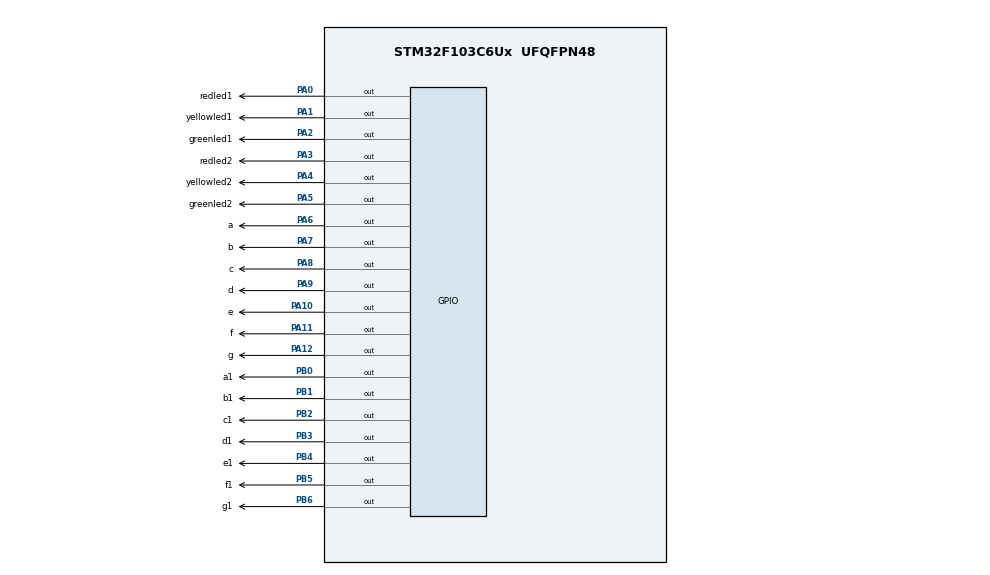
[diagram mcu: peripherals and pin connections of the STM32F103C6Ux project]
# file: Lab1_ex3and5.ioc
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Mcu.Family=STM32F1
Mcu.Name=STM32F103C6Ux
Mcu.Package=UFQFPN48
NVIC.PriorityGroup=NVIC_PRIORITYGROUP_4
PA0-WKUP.GPIO_Label=redled1
PA0-WKUP.Signal=GPIO_Output
PA1.GPIO_Label=yellowled1
PA1.Signal=GPIO_Output
PA10.GPIO_Label=e
PA10.Signal=GPIO_Output
PA11.GPIO_Label=f
PA11.Signal=GPIO_Output
PA12.GPIO_Label=g
PA12.Signal=GPIO_Output
PA2.GPIO_Label=greenled1
PA2.Signal=GPIO_Output
PA3.GPIO_Label=redled2
PA3.Signal=GPIO_Output
PA4.GPIO_Label=yellowled2
PA4.Signal=GPIO_Output
PA5.GPIO_Label=greenled2
PA5.Signal=GPIO_Output
PA6.GPIO_Label=a
PA6.Signal=GPIO_Output
PA7.GPIO_Label=b
PA7.Signal=GPIO_Output
PA8.GPIO_Label=c
PA8.Signal=GPIO_Output
PA9.GPIO_Label=d
PA9.Signal=GPIO_Output
PB0.GPIO_Label=a1
PB0.Signal=GPIO_Output
PB1.GPIO_Label=b1
PB1.Signal=GPIO_Output
PB2.GPIO_Label=c1
PB2.Signal=GPIO_Output
PB3.GPIO_Label=d1
PB3.Signal=GPIO_Output
PB4.GPIO_Label=e1
PB4.Signal=GPIO_Output
PB5.GPIO_Label=f1
PB5.Signal=GPIO_Output
PB6.GPIO_Label=g1
PB6.Signal=GPIO_Output
ProjectManager.HeapSize=0x200
ProjectManager.StackSize=0x400
ProjectManager.TargetToolchain=STM32CubeIDE
RCC.APB1Freq_Value=8000000
RCC.APB2Freq_Value=8000000
VP_SYS_VS_ND.Mode=No_Debug
board=custom

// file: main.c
/* USER CODE BEGIN Header */
/**
  ******************************************************************************
  * @file           : main.c
  * @brief          : Main program body
  ******************************************************************************
  * @attention
  *
  * <h2><center>&copy; Copyright (c) 2025 STMicroelectronics.
  * All rights reserved.</center></h2>
  *
  * This software component is licensed by ST under BSD 3-Clause license,
  * the "License"; You may not use this file except in compliance with the
  * License. You may obtain a copy of the License at:
  *                        opensource.org/licenses/BSD-3-Clause
  *
  ******************************************************************************
  */
/* USER CODE END Header */
#include "main.h"

void SystemClock_Config(void);
static void MX_GPIO_Init(void);

int main(void)
{

  /* MCU Configuration--------------------------------------------------------*/

  /* Reset of all peripherals, Initializes the Flash interface and the Systick. */
  HAL_Init();

  /* Configure the system clock */
  SystemClock_Config();

  /* Initialize all configured peripherals */
  MX_GPIO_Init();

  /* Infinite loop */
  /* USER CODE BEGIN WHILE */
 /* void display7SEG_DOC(int n) {
	  switch (n) {
	  case 1:
	          HAL_GPIO_WritePin(a_GPIO_Port, a_Pin, SET);
	          HAL_GPIO_WritePin(b_GPIO_Port, b_Pin, RESET);
	          HAL_GPIO_WritePin(c_GPIO_Port, c_Pin, RESET);
	          HAL_GPIO_WritePin(d_GPIO_Port, d_Pin, SET);
	          HAL_GPIO_WritePin(e_GPIO_Port, e_Pin, SET);
	          HAL_GPIO_WritePin(f_GPIO_Port, f_Pin, SET);
	          HAL_GPIO_WritePin(g_GPIO_Port, g_Pin, SET);
	          break;

	      case 2:
	          HAL_GPIO_WritePin(a_GPIO_Port, a_Pin, RESET);
	          HAL_GPIO_WritePin(b_GPIO_Port, b_Pin, RESET);
	          HAL_GPIO_WritePin(c_GPIO_Port, c_Pin, SET);
	          HAL_GPIO_WritePin(d_GPIO_Port, d_Pin, RESET);
	          HAL_GPIO_WritePin(e_GPIO_Port, e_Pin, RESET);
	          HAL_GPIO_WritePin(f_GPIO_Port, f_Pin, SET);
	          HAL_GPIO_WritePin(g_GPIO_Port, g_Pin, RESET);
	          break;

	      case 3:
	          HAL_GPIO_WritePin(a_GPIO_Port, a_Pin, RESET);
	          HAL_GPIO_WritePin(b_GPIO_Port, b_Pin, RESET);
	          HAL_GPIO_WritePin(c_GPIO_Port, c_Pin, RESET);
	          HAL_GPIO_WritePin(d_GPIO_Port, d_Pin, RESET);
	          HAL_GPIO_WritePin(e_GPIO_Port, e_Pin, SET);
	          HAL_GPIO_WritePin(f_GPIO_Port, f_Pin, SET);
	          HAL_GPIO_WritePin(g_GPIO_Port, g_Pin, RESET);
	          break;

	      case 4:
	          HAL_GPIO_WritePin(a_GPIO_Port, a_Pin, SET);
	          HAL_GPIO_WritePin(b_GPIO_Port, b_Pin, RESET);
	          HAL_GPIO_WritePin(c_GPIO_Port, c_Pin, RESET);
	          HAL_GPIO_WritePin(d_GPIO_Port, d_Pin, SET);
	          HAL_GPIO_WritePin(e_GPIO_Port, e_Pin, SET);
	          HAL_GPIO_WritePin(f_GPIO_Port, f_Pin, RESET);
	          HAL_GPIO_WritePin(g_GPIO_Port, g_Pin, RESET);
	          break;

	      case 5:
	          HAL_GPIO_WritePin(a_GPIO_Port, a_Pin, RESET);
	          HAL_GPIO_WritePin(b_GPIO_Port, b_Pin, SET);
	          HAL_GPIO_WritePin(c_GPIO_Port, c_Pin, RESET);
	          HAL_GPIO_WritePin(d_GPIO_Port, d_Pin, RESET);
	          HAL_GPIO_WritePin(e_GPIO_Port, e_Pin, SET);
	          HAL_GPIO_WritePin(f_GPIO_Port, f_Pin, RESET);
	          HAL_GPIO_WritePin(g_GPIO_Port, g_Pin, RESET);
	          break;
	  default:
		  HAL_GPIO_WritePin(a_GPIO_Port, a_Pin, SET);
		  HAL_GPIO_WritePin(b_GPIO_Port, b_Pin, SET);
		  HAL_GPIO_WritePin(c_GPIO_Port, c_Pin, SET);
		  HAL_GPIO_WritePin(d_GPIO_Port, d_Pin, SET);
		  HAL_GPIO_WritePin(e_GPIO_Port, e_Pin, SET);
		  HAL_GPIO_WritePin(f_GPIO_Port, f_Pin, SET);
		  HAL_GPIO_WritePin(g_GPIO_Port, g_Pin, SET);
		  break;

	  }
  } */

void display7SEG_Ngang(int n) {
	switch (n) {
	case 1:
		HAL_GPIO_WritePin(a_GPIO_Port, a_Pin, SET);
		HAL_GPIO_WritePin(b_GPIO_Port, b_Pin, RESET);
		HAL_GPIO_WritePin(c_GPIO_Port, c_Pin, RESET);
		HAL_GPIO_WritePin(d_GPIO_Port, d_Pin, SET);
		HAL_GPIO_WritePin(e_GPIO_Port, e_Pin, SET);
		HAL_GPIO_WritePin(f_GPIO_Port, f_Pin, SET);
		HAL_GPIO_WritePin(g_GPIO_Port, g_Pin, SET);
		break;
	case 2:
		HAL_GPIO_WritePin(a_GPIO_Port, a_Pin, RESET);
				HAL_GPIO_WritePin(b_GPIO_Port, b_Pin, RESET);
				HAL_GPIO_WritePin(c_GPIO_Port, c_Pin, SET);
				HAL_GPIO_WritePin(d_GPIO_Port, d_Pin, RESET);
				HAL_GPIO_WritePin(e_GPIO_Port, e_Pin, RESET);
				HAL_GPIO_WritePin(f_GPIO_Port, f_Pin, SET);
				HAL_GPIO_WritePin(g_GPIO_Port, g_Pin, RESET);
				break;
	case 3:
		HAL_GPIO_WritePin(a_GPIO_Port, a_Pin, RESET);
				HAL_GPIO_WritePin(b_GPIO_Port, b_Pin, RESET);
				HAL_GPIO_WritePin(c_GPIO_Port, c_Pin, RESET);
				HAL_GPIO_WritePin(d_GPIO_Port, d_Pin, RESET);
				HAL_GPIO_WritePin(e_GPIO_Port, e_Pin, SET);
				HAL_GPIO_WritePin(f_GPIO_Port, f_Pin, SET);
				HAL_GPIO_WritePin(g_GPIO_Port, g_Pin, RESET);
				break;
	case 4:
		HAL_GPIO_WritePin(a_GPIO_Port, a_Pin, SET);
				HAL_GPIO_WritePin(b_GPIO_Port, b_Pin, RESET);
				HAL_GPIO_WritePin(c_GPIO_Port, c_Pin, RESET);
				HAL_GPIO_WritePin(d_GPIO_Port, d_Pin, SET);
				HAL_GPIO_WritePin(e_GPIO_Port, e_Pin, SET);
				HAL_GPIO_WritePin(f_GPIO_Port, f_Pin, RESET);
				HAL_GPIO_WritePin(g_GPIO_Port, g_Pin, RESET);
				break;
	case 5:
		HAL_GPIO_WritePin(a_GPIO_Port, a_Pin, RESET);
				HAL_GPIO_WritePin(b_GPIO_Port, b_Pin, SET);
				HAL_GPIO_WritePin(c_GPIO_Port, c_Pin, RESET);
				HAL_GPIO_WritePin(d_GPIO_Port, d_Pin, RESET);
				HAL_GPIO_WritePin(e_GPIO_Port, e_Pin, SET);
				HAL_GPIO_WritePin(f_GPIO_Port, f_Pin, RESET);
				HAL_GPIO_WritePin(g_GPIO_Port, g_Pin, RESET);
				break;
	default:
			HAL_GPIO_WritePin(a_GPIO_Port, a_Pin, SET);
					HAL_GPIO_WritePin(b_GPIO_Port, b_Pin, SET);
					HAL_GPIO_WritePin(c_GPIO_Port, c_Pin, SET);
					HAL_GPIO_WritePin(d_GPIO_Port, d_Pin, SET);
					HAL_GPIO_WritePin(e_GPIO_Port, e_Pin, SET);
					HAL_GPIO_WritePin(f_GPIO_Port, f_Pin, SET);
					HAL_GPIO_WritePin(g_GPIO_Port, g_Pin, SET);
					break;

	}
}

void display7SEG_Doc(int a) {
	switch (a) {
	case 1:
		HAL_GPIO_WritePin(a1_GPIO_Port, a1_Pin, SET);
		HAL_GPIO_WritePin(b1_GPIO_Port, b1_Pin, RESET);
		HAL_GPIO_WritePin(c1_GPIO_Port, c1_Pin, RESET);
		HAL_GPIO_WritePin(d1_GPIO_Port, d1_Pin, SET);
		HAL_GPIO_WritePin(e1_GPIO_Port, e1_Pin, SET);
		HAL_GPIO_WritePin(f1_GPIO_Port, f1_Pin, SET);
		HAL_GPIO_WritePin(g1_GPIO_Port, g1_Pin, SET);
		break;
	case 2:
		HAL_GPIO_WritePin(a1_GPIO_Port, a1_Pin, RESET);
				HAL_GPIO_WritePin(b1_GPIO_Port, b1_Pin, RESET);
				HAL_GPIO_WritePin(c1_GPIO_Port, c1_Pin, SET);
				HAL_GPIO_WritePin(d1_GPIO_Port, d1_Pin, RESET);
				HAL_GPIO_WritePin(e1_GPIO_Port, e1_Pin, RESET);
				HAL_GPIO_WritePin(f1_GPIO_Port, f1_Pin, SET);
				HAL_GPIO_WritePin(g1_GPIO_Port, g1_Pin, RESET);
				break;
	case 3:
		HAL_GPIO_WritePin(a1_GPIO_Port, a1_Pin, RESET);
				HAL_GPIO_WritePin(b1_GPIO_Port, b1_Pin, RESET);
				HAL_GPIO_WritePin(c1_GPIO_Port, c1_Pin, RESET);
				HAL_GPIO_WritePin(d1_GPIO_Port, d1_Pin, RESET);
				HAL_GPIO_WritePin(e1_GPIO_Port, e1_Pin, SET);
				HAL_GPIO_WritePin(f1_GPIO_Port, f1_Pin, SET);
				HAL_GPIO_WritePin(g1_GPIO_Port, g1_Pin, RESET);
				break;
	case 4:
		HAL_GPIO_WritePin(a1_GPIO_Port, a1_Pin, SET);
				HAL_GPIO_WritePin(b1_GPIO_Port, b1_Pin, RESET);
				HAL_GPIO_WritePin(c1_GPIO_Port, c1_Pin, RESET);
				HAL_GPIO_WritePin(d1_GPIO_Port, d1_Pin, SET);
				HAL_GPIO_WritePin(e1_GPIO_Port, e1_Pin, SET);
				HAL_GPIO_WritePin(f1_GPIO_Port, f1_Pin, RESET);
				HAL_GPIO_WritePin(g1_GPIO_Port, g1_Pin, RESET);
				break;
	case 5:
		HAL_GPIO_WritePin(a1_GPIO_Port, a1_Pin, RESET);
				HAL_GPIO_WritePin(b1_GPIO_Port, b1_Pin, SET);
				HAL_GPIO_WritePin(c1_GPIO_Port, c1_Pin, RESET);
				HAL_GPIO_WritePin(d1_GPIO_Port, d1_Pin, RESET);
				HAL_GPIO_WritePin(e1_GPIO_Port, e1_Pin, SET);
				HAL_GPIO_WritePin(f1_GPIO_Port, f1_Pin, RESET);
				HAL_GPIO_WritePin(g1_GPIO_Port, g1_Pin, RESET);
				break;
	default:
		HAL_GPIO_WritePin(a1_GPIO_Port, a1_Pin, SET);
				HAL_GPIO_WritePin(b1_GPIO_Port, b1_Pin, SET);
				HAL_GPIO_WritePin(c1_GPIO_Port, c1_Pin, SET);
				HAL_GPIO_WritePin(d1_GPIO_Port, d1_Pin, SET);
				HAL_GPIO_WritePin(e1_GPIO_Port, e1_Pin, SET);
				HAL_GPIO_WritePin(f1_GPIO_Port, f1_Pin, SET);
				HAL_GPIO_WritePin(g1_GPIO_Port, g1_Pin, SET);
				break;

	}
}

   while (1)
   {
    /* USER CODE END WHILE */

    /* USER CODE BEGIN 3 */
	   HAL_GPIO_WritePin(redled1_GPIO_Port, redled1_Pin, 1);
	       HAL_GPIO_WritePin(greenled1_GPIO_Port, greenled1_Pin, 0);
	       HAL_GPIO_WritePin(yellowled1_GPIO_Port, yellowled1_Pin, 0);

	       HAL_GPIO_WritePin(redled2_GPIO_Port, redled2_Pin, 0);
	       HAL_GPIO_WritePin(greenled2_GPIO_Port, greenled2_Pin, 1);
	       HAL_GPIO_WritePin(yellowled2_GPIO_Port, yellowled2_Pin, 0);

	       int t = 5;
	      while ( t > 0) {
	           display7SEG_Ngang(t);
	           if (t > 2) display7SEG_Doc(t - 2);
	           else {

	               HAL_GPIO_WritePin(greenled2_GPIO_Port, greenled2_Pin, 0);
	               HAL_GPIO_WritePin(yellowled2_GPIO_Port, yellowled2_Pin, 1);
	               display7SEG_Doc(t);
	           }
	           HAL_Delay(1000);
	           t--;
	       }

	       HAL_GPIO_WritePin(redled2_GPIO_Port, redled2_Pin, 1);
	       HAL_GPIO_WritePin(greenled2_GPIO_Port, greenled2_Pin, 0);
	       HAL_GPIO_WritePin(yellowled2_GPIO_Port, yellowled2_Pin, 0);

	       HAL_GPIO_WritePin(redled1_GPIO_Port, redled1_Pin, 0);
	       HAL_GPIO_WritePin(greenled1_GPIO_Port, greenled1_Pin, 1);
	       HAL_GPIO_WritePin(yellowled1_GPIO_Port, yellowled1_Pin, 0);

	       int k = 5;
	      while (k>0) {
	           display7SEG_Doc(k);
	           if (k > 2) display7SEG_Ngang(k - 2);
	           else {
	               HAL_GPIO_WritePin(greenled1_GPIO_Port, greenled1_Pin, 0);
	               HAL_GPIO_WritePin(yellowled1_GPIO_Port, yellowled1_Pin, 1);
	               display7SEG_Ngang(k);
	           }
	           HAL_Delay(1000);
	           k--;
	       }

   }
  /* USER CODE END 3 */
}

void SystemClock_Config(void)
{
  RCC_OscInitTypeDef RCC_OscInitStruct = {0};
  RCC_ClkInitTypeDef RCC_ClkInitStruct = {0};

  /** Initializes the RCC Oscillators according to the specified parameters
  * in the RCC_OscInitTypeDef structure.
  */
  RCC_OscInitStruct.OscillatorType = RCC_OSCILLATORTYPE_HSI;
  RCC_OscInitStruct.HSIState = RCC_HSI_ON;
  RCC_OscInitStruct.HSICalibrationValue = RCC_HSICALIBRATION_DEFAULT;
  RCC_OscInitStruct.PLL.PLLState = RCC_PLL_NONE;
  if (HAL_RCC_OscConfig(&RCC_OscInitStruct) != HAL_OK)
  {
    Error_Handler();
  }
  /** Initializes the CPU, AHB and APB buses clocks
  */
  RCC_ClkInitStruct.ClockType = RCC_CLOCKTYPE_HCLK|RCC_CLOCKTYPE_SYSCLK
                              |RCC_CLOCKTYPE_PCLK1|RCC_CLOCKTYPE_PCLK2;
  RCC_ClkInitStruct.SYSCLKSource = RCC_SYSCLKSOURCE_HSI;
  RCC_ClkInitStruct.AHBCLKDivider = RCC_SYSCLK_DIV1;
  RCC_ClkInitStruct.APB1CLKDivider = RCC_HCLK_DIV1;
  RCC_ClkInitStruct.APB2CLKDivider = RCC_HCLK_DIV1;

  if (HAL_RCC_ClockConfig(&RCC_ClkInitStruct, FLASH_LATENCY_0) != HAL_OK)
  {
    Error_Handler();
  }
}

static void MX_GPIO_Init(void)
{
  GPIO_InitTypeDef GPIO_InitStruct = {0};

  /* GPIO Ports Clock Enable */
  __HAL_RCC_GPIOA_CLK_ENABLE();
  __HAL_RCC_GPIOB_CLK_ENABLE();

  /*Configure GPIO pin Output Level */
  HAL_GPIO_WritePin(GPIOA, redled1_Pin|yellowled1_Pin|greenled1_Pin|redled2_Pin
                          |yellowled2_Pin|greenled2_Pin|a_Pin|b_Pin
                          |c_Pin|d_Pin|e_Pin|f_Pin
                          |g_Pin, GPIO_PIN_RESET);

  /*Configure GPIO pin Output Level */
  HAL_GPIO_WritePin(GPIOB, a1_Pin|b1_Pin|c1_Pin|d1_Pin
                          |e1_Pin|f1_Pin|g1_Pin, GPIO_PIN_RESET);

  /*Configure GPIO pins : redled1_Pin yellowled1_Pin greenled1_Pin redled2_Pin
                           yellowled2_Pin greenled2_Pin a_Pin b_Pin
                           c_Pin d_Pin e_Pin f_Pin
                           g_Pin */
  GPIO_InitStruct.Pin = redled1_Pin|yellowled1_Pin|greenled1_Pin|redled2_Pin
                          |yellowled2_Pin|greenled2_Pin|a_Pin|b_Pin
                          |c_Pin|d_Pin|e_Pin|f_Pin
                          |g_Pin;
  GPIO_InitStruct.Mode = GPIO_MODE_OUTPUT_PP;
  GPIO_InitStruct.Pull = GPIO_NOPULL;
  GPIO_InitStruct.Speed = GPIO_SPEED_FREQ_LOW;
  HAL_GPIO_Init(GPIOA, &GPIO_InitStruct);

  /*Configure GPIO pins : a1_Pin b1_Pin c1_Pin d1_Pin
                           e1_Pin f1_Pin g1_Pin */
  GPIO_InitStruct.Pin = a1_Pin|b1_Pin|c1_Pin|d1_Pin
                          |e1_Pin|f1_Pin|g1_Pin;
  GPIO_InitStruct.Mode = GPIO_MODE_OUTPUT_PP;
  GPIO_InitStruct.Pull = GPIO_NOPULL;
  GPIO_InitStruct.Speed = GPIO_SPEED_FREQ_LOW;
  HAL_GPIO_Init(GPIOB, &GPIO_InitStruct);

}

void Error_Handler(void)
{
  __disable_irq();
  while (1)
  {
  }
}

/************************ (C) COPYRIGHT STMicroelectronics *****END OF FILE****/
